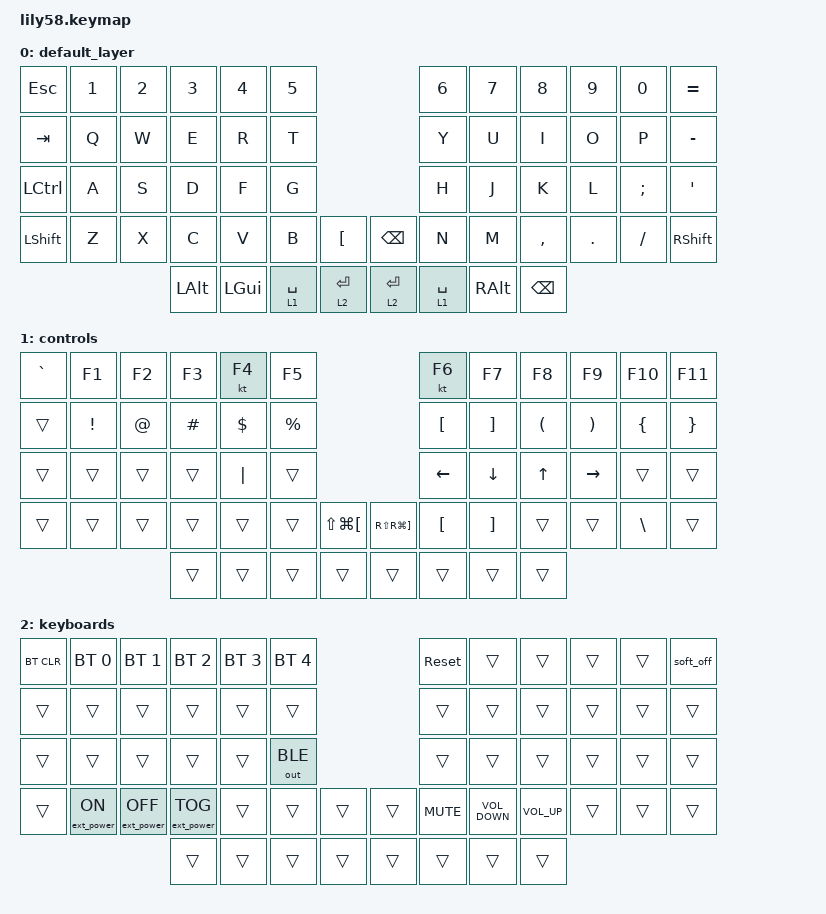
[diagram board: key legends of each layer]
/*
 * Copyright (c) 2022 The ZMK Contributors
 *
 * SPDX-License-Identifier: MIT
 */

#include <behaviors.dtsi>
#include <dt-bindings/zmk/bt.h>
#include <dt-bindings/zmk/ext_power.h>
#include <dt-bindings/zmk/keys.h>
#include <dt-bindings/zmk/keys.h>
#include <dt-bindings/zmk/outputs.h>

/ {
    keymap {
        compatible = "zmk,keymap";

        default_layer {
            // ------------------------------------------------------------------------------------------------------------
            // |  ESC  |  1  |  2  |  3   |  4   |  5   |                   |  6   |  7    |  8    |  9   |   0   |   `   |
            // |  TAB  |  Q  |  W  |  E   |  R   |  T   |                   |  Y   |  U    |  I    |  O   |   P   |   -   |
            // |  CTRL |  A  |  S  |  D   |  F   |  G   |                   |  H   |  J    |  K    |  L   |   ;   |   '   |
            // | SHIFT |  Z  |  X  |  C   |  V   |  B   |   "["  |  |  "]"  |  N   |  M    |  ,    |  .   |   /   | SHIFT |
            //                     | ALT  | GUI  | LOWER|  SPACE |  | ENTER | RAISE| BSPC  | GUI   |

            bindings = <
&kp ESC    &kp N1  &kp N2  &kp N3    &kp N4    &kp N5                                          &kp N6       &kp N7         &kp N8         &kp N9   &kp N0    &kp EQUAL
&kp TAB    &kp Q   &kp W   &kp E     &kp R     &kp T                                           &kp Y        &kp U          &kp I          &kp O    &kp P     &kp MINUS
&kp LCTRL  &kp A   &kp S   &kp D     &kp F     &kp G                                           &kp H        &kp J          &kp K          &kp L    &kp SEMI  &kp SQT
&kp LSHFT  &kp Z   &kp X   &kp C     &kp V     &kp B        &kp LEFT_BRACKET    &kp BACKSPACE  &kp N        &kp M          &kp COMMA      &kp DOT  &kp FSLH  &kp RSHFT
                           &kp LALT  &kp LGUI  &lt 1 SPACE  &lt 2 ENTER         &lt 2 ENTER    &lt 1 SPACE  &kp RIGHT_ALT  &kp BACKSPACE
            >;
        };

        controls {
            // ------------------------------------------------------------------------------------------------------------
            // |       |     |     |      |      |      |                   |      |       |       |      |       |       |
            // |   `   |  1  |  2  |  3   |  4   |  5   |                   |  6   |   7   |   8   |  9   |   0   |       |
            // |   F1  |  F2 |  F3 |  F4  |  F5  |  F6  |                   |      |   <-  |   v   |  ^   |  ->   |       |
            // |   F7  |  F8 |  F9 |  F10 |  F11 |  F12 |        |  |       |  +   |   -   |   =   |  [   |   ]   |   \   |
            //                     |      |      |      |        |  |       |      |       |       |

            bindings = <
&kp GRAVE  &kp F1           &kp F2       &kp F3    &kt F4      &kp F5                                                              &kt F6            &kp F7             &kp F8                &kp F9                 &kp F10         &kp F11
&trans     &kp EXCLAMATION  &kp AT_SIGN  &kp HASH  &kp DOLLAR  &kp PERCENT                                                         &kp LEFT_BRACKET  &kp RIGHT_BRACKET  &kp LEFT_PARENTHESIS  &kp RIGHT_PARENTHESIS  &kp LEFT_BRACE  &kp RIGHT_BRACE
&trans     &trans           &trans       &trans    &kp PIPE    &trans                                                              &kp LEFT_ARROW    &kp DOWN           &kp UP_ARROW          &kp RIGHT              &trans          &trans
&trans     &trans           &trans       &trans    &trans      &trans       &kp LS(LG(LEFT_BRACKET))    &kp RS(RG(RIGHT_BRACKET))  &kp LEFT_BRACKET  &kp RIGHT_BRACKET  &trans                &trans                 &kp BACKSLASH   &trans
                                         &trans    &trans      &trans       &trans                      &trans                     &trans            &trans             &trans
            >;
        };

        keyboards {
            // ------------------------------------------------------------------------------------------------------------
            // | BTCLR | BT1 | BT2 |  BT3 |  BT4 |  BT5 |                   |      |       |       |      |       |       |
            // |  F1   |  F2 |  F3 |  F4  |  F5  |  F6  |                   |  F7  |  F8   |  F9   |  F10 |  F11  |  F12  |
            // |   `   |  !  |  @  |  #   |  $   |  %   |                   |  ^   |  &    |  *    |  (   |   )   |   ~   |
            // |       |     |     |      |      |      |        |  |       |      |  _    |  +    |  {   |   }   |  "|"  |
            //                     |      |      |      |        |  |       |      |       |       |

            bindings = <
&bt BT_CLR  &bt BT_SEL 0      &bt BT_SEL 1       &bt BT_SEL 2       &bt BT_SEL 3  &bt BT_SEL 4                    &sys_reset  &trans             &trans           &trans  &trans  &soft_off
&trans      &trans            &trans             &trans             &trans        &trans                          &trans      &trans             &trans           &trans  &trans  &trans
&trans      &trans            &trans             &trans             &trans        &out OUT_BLE                    &trans      &trans             &trans           &trans  &trans  &trans
&trans      &ext_power EP_ON  &ext_power EP_OFF  &ext_power EP_TOG  &trans        &trans        &trans    &trans  &kp K_MUTE  &kp C_VOLUME_DOWN  &kp C_VOLUME_UP  &trans  &trans  &trans
                                                 &trans             &trans        &trans        &trans    &trans  &trans      &trans             &trans
            >;
        };
    };
};
